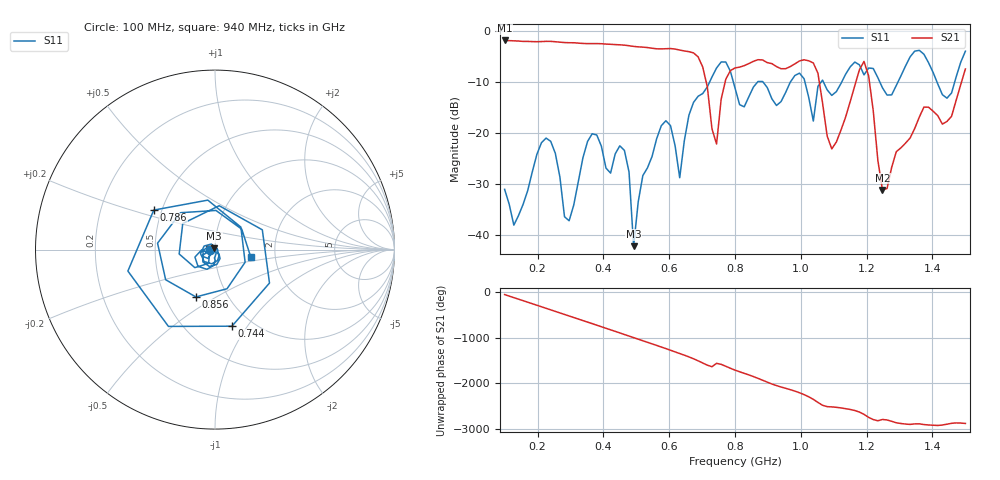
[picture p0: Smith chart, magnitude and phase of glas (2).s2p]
! NanoVNA-App
! Date: 2025-09-25 15:55:29
! Start: 100MHz Stop: 1,5GHz Points: 101
! S-Parameter data: F S11 S21 S12 S22
# Hz S RI R 50
!  Frequency  S11_Real  S11_Imag  S21_Real  S21_Imag  S12_Real  S12_Imag  S22_Real  S22_Imag
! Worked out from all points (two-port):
!   101 points, 100 MHz to 1.5 GHz, reference 50 ohm
!   highest |S21| = -1.80 dB at 100 MHz (marker M1); lowest = -31.1 dB at 1.248 GHz (marker M2)
!   |S21| within 3 dB of the highest: start of sweep to 684.1 MHz
!   lowest |S11| = -42.1 dB at 492 MHz (marker M3), VSWR 1.02, Z = 49.5 + j0.608 ohm
!   |S11| at or under -10 dB: start of sweep to 722.4 MHz; 795.3 MHz to 867.9 MHz (72.63 MHz wide, 8.73 % of centre); 885.9 MHz to 967.7 MHz (81.85 MHz wide, 8.83 % of centre) (the widest 3 of 7)
!   S12 and S22 are empty: the file has one direction only
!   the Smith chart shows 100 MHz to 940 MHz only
!   S11 on the Smith chart (normalised r, x): 100 MHz: 0.95, -0.01; 744 MHz: 0.81, -0.85; 786 MHz: 0.45, +0.24; 856 MHz: 0.71, -0.41; 940 MHz: 1.49, -0.14
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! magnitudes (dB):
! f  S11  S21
! 100 MHz  -31.0  -1.8
! 128 MHz  -38.0  -1.9
! 226 MHz  -20.9  -2.0
! 296 MHz  -37.1  -2.2
! 338 MHz  -24.8  -2.4
! 464 MHz  -23.3  -2.7
! 492 MHz  -42.1  -3.0
! 576 MHz  -18.5  -3.5
! 632 MHz  -28.7  -3.7
! 702 MHz  -12.2  -7.0
! 744 MHz  -7.2  -22.1
! 786 MHz  -7.8  -7.7
! 800 MHz  -11.1  -7.2
! 856 MHz  -10.9  -5.9
! 940 MHz  -13.8  -7.3
! 996 MHz  -8.2  -5.8
! 1.038 GHz  -17.6  -6.2
! 1.094 GHz  -12.6  -23.0
! 1.192 GHz  -8.5  -5.9
! 1.248 GHz  -11.1  -31.1
! 1.276 GHz  -12.5  -26.7
! 1.5 GHz  -3.9  -7.4
